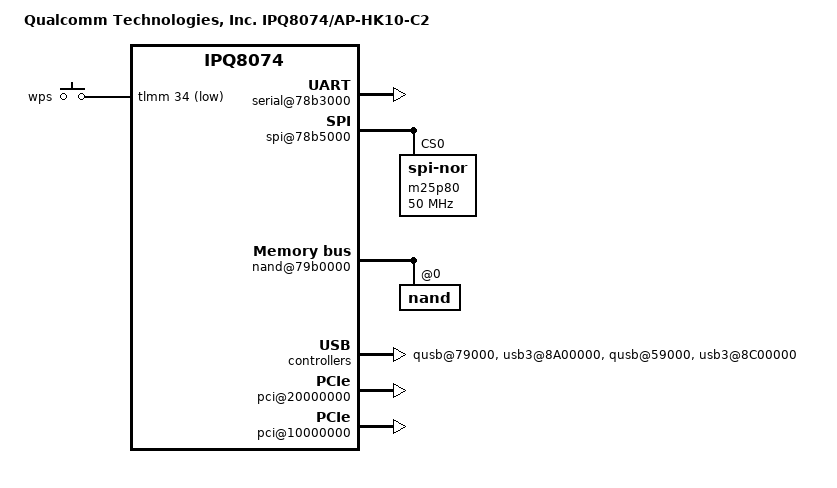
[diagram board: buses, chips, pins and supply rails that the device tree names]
// SPDX-License-Identifier: GPL-2.0-only
/dts-v1/;
/* Copyright (c) 2020 The Linux Foundation. All rights reserved.
 */
#include "ipq8074.dtsi"

/ {
	#address-cells = <0x2>;
	#size-cells = <0x2>;
	model = "Qualcomm Technologies, Inc. IPQ8074/AP-HK10-C2";
	compatible = "qcom,ipq8074-ap-hk10-c2", "qcom,ipq8074-ap-hk10", "qcom,ipq8074";
	interrupt-parent = <&intc>;

	aliases {
		serial0 = &blsp1_uart5;
	};

	chosen {
		stdout-path = "serial0";
	};

	soc {
		pinctrl@1000000 {
			button_pins: button_pins {
				wps_button {
					pins = "gpio34";
					function = "gpio";
					drive-strength = <8>;
					bias-pull-up;
				};
			};

			usb_mux_sel_pins: usb_mux_pins {
				mux {
					pins = "gpio27";
					function = "gpio";
					drive-strength = <8>;
					bias-pull-down;
				};
			};

			pcie0_pins: pcie_pins {
				pcie0_rst {
					pins = "gpio58";
					function = "pcie0_rst";
					drive-strength = <8>;
					bias-pull-down;
				};
				pcie0_wake {
					pins = "gpio59";
					function = "pcie0_wake";
					drive-strength = <8>;
					bias-pull-down;
				};
			};
		};

		serial@78b3000 {
			status = "ok";
		};

		spi@78b5000 {
			status = "ok";
			pinctrl-0 = <&spi_0_pins>;
			pinctrl-names = "default";
			cs-select = <0>;

			m25p80@0 {
				  compatible = "jedec,spi-nor";
				  #address-cells = <1>;
				  #size-cells = <1>;
				  reg = <0>;
				  spi-max-frequency = <50000000>;
			};
		};

		dma@7984000 {
			 status = "ok";
		};

		nand@79b0000 {
			status = "ok";

			nand@0 {
				reg = <0>;
				#address-cells = <1>;
				#size-cells = <1>;

				nand-ecc-strength = <4>;
				nand-ecc-step-size = <512>;
				nand-bus-width = <8>;
			};
		};

		qusb@79000 {
			status = "ok";
		};

		ssphy@78000 {
			status = "ok";
		};

		usb3@8A00000 {
			status = "ok";
		};

		qusb@59000 {
			status = "ok";
		};

		ssphy@58000 {
			status = "ok";
		};

		usb3@8C00000 {
			status = "ok";
		};

		qcom,test@0 {
			status = "ok";
		};

		phy@84000 {
			status = "ok";
		};

		phy@86000 {
			status = "ok";
		};

		pci@20000000 {
			perst-gpio = <&tlmm 58 1>;
			status = "ok";

			pcie0_rp {
				reg = <0 0 0 0 0>;

				qcom,mhi@0 {
					reg = <0 0 0 0 0>;
					qrtr_instance_id = <0x20>;
				};
			};
		};

		phy@8e000 {
			status = "ok";
		};

		pci@10000000 {
			perst-gpio = <&tlmm 61 0x1>;
			status = "ok";

			pcie1_rp {
				reg = <0 0 0 0 0>;

				qcom,mhi@1 {
					reg = <0 0 0 0 0>;
					qrtr_instance_id = <0x21>;
				};
			};
		};

		gpio_keys {
			compatible = "gpio-keys";
			pinctrl-0 = <&button_pins>;
			pinctrl-names = "default";
			status = "ok";

			button@1 {
				label = "wps";
				linux,code = <KEY_WPS_BUTTON>;
				gpios = <&tlmm 34 GPIO_ACTIVE_LOW>;
				linux,input-type = <1>;
				debounce-interval = <60>;
			};
		};
	};
};
